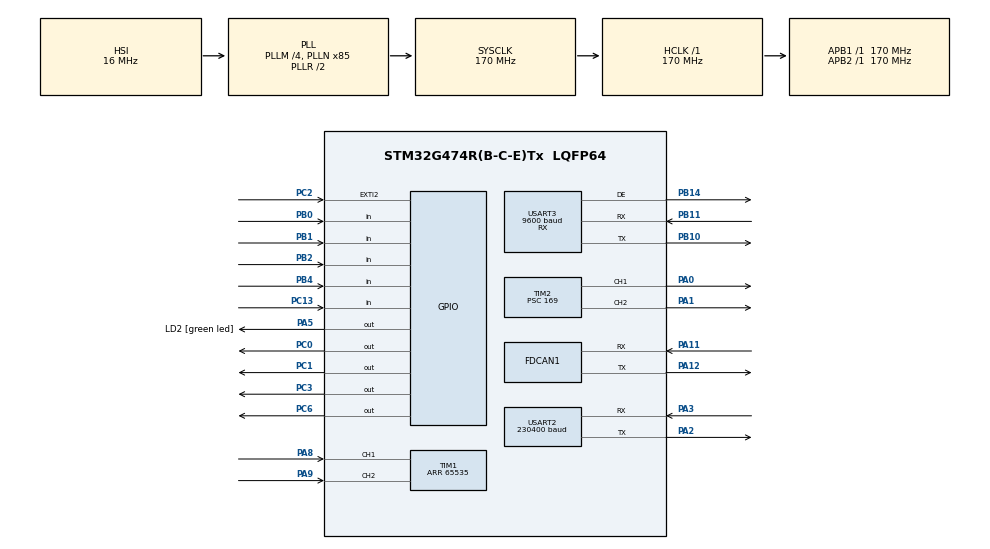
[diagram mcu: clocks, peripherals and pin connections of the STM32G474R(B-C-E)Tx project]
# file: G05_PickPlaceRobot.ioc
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ARM.CMSIS.5.7.0.CMSISJjCORE=true
ARM.CMSIS.5.7.0.CMSISJjDSP=Library
Dma.Request0=USART2_RX
Dma.Request1=USART2_TX
Dma.USART2_RX.0.Direction=DMA_PERIPH_TO_MEMORY
Dma.USART2_RX.0.EventEnable=DISABLE
Dma.USART2_RX.0.Instance=DMA1_Channel2
Dma.USART2_RX.0.MemDataAlignment=DMA_MDATAALIGN_BYTE
Dma.USART2_RX.0.MemInc=DMA_MINC_ENABLE
Dma.USART2_RX.0.Mode=DMA_NORMAL
Dma.USART2_RX.0.PeriphDataAlignment=DMA_PDATAALIGN_BYTE
Dma.USART2_RX.0.PeriphInc=DMA_PINC_DISABLE
Dma.USART2_RX.0.Polarity=HAL_DMAMUX_REQ_GEN_RISING
Dma.USART2_RX.0.Priority=DMA_PRIORITY_LOW
Dma.USART2_RX.0.RequestNumber=1
Dma.USART2_RX.0.SignalID=NONE
Dma.USART2_RX.0.SyncEnable=DISABLE
Dma.USART2_RX.0.SyncPolarity=HAL_DMAMUX_SYNC_NO_EVENT
Dma.USART2_RX.0.SyncRequestNumber=1
Dma.USART2_RX.0.SyncSignalID=NONE
Dma.USART2_TX.1.Direction=DMA_MEMORY_TO_PERIPH
Dma.USART2_TX.1.EventEnable=DISABLE
Dma.USART2_TX.1.Instance=DMA1_Channel3
Dma.USART2_TX.1.MemDataAlignment=DMA_MDATAALIGN_BYTE
Dma.USART2_TX.1.MemInc=DMA_MINC_ENABLE
Dma.USART2_TX.1.Mode=DMA_NORMAL
Dma.USART2_TX.1.PeriphDataAlignment=DMA_PDATAALIGN_BYTE
Dma.USART2_TX.1.PeriphInc=DMA_PINC_DISABLE
Dma.USART2_TX.1.Polarity=HAL_DMAMUX_REQ_GEN_RISING
Dma.USART2_TX.1.Priority=DMA_PRIORITY_LOW
Dma.USART2_TX.1.RequestNumber=1
Dma.USART2_TX.1.SignalID=NONE
Dma.USART2_TX.1.SyncEnable=DISABLE
Dma.USART2_TX.1.SyncPolarity=HAL_DMAMUX_SYNC_NO_EVENT
Dma.USART2_TX.1.SyncRequestNumber=1
Dma.USART2_TX.1.SyncSignalID=NONE
FDCAN1.CalculateBaudRateNominal=500000
FDCAN1.CalculateTimeBitNominal=2000
FDCAN1.CalculateTimeQuantumNominal=200.0
FDCAN1.DataTimeSeg1=1
FDCAN1.DataTimeSeg2=1
FDCAN1.NominalPrescaler=34
FDCAN1.NominalTimeSeg1=7
FDCAN1.NominalTimeSeg2=2
FDCAN1.StdFiltersNbr=2
Mcu.Family=STM32G4
Mcu.Name=STM32G474R(B-C-E)Tx
Mcu.Package=LQFP64
NVIC.DMA1_Channel2_IRQn=true\:0\:0\:false\:false\:true\:false\:true\:true
NVIC.DMA1_Channel3_IRQn=true\:0\:0\:false\:false\:true\:false\:true\:true
NVIC.EXTI2_IRQn=true\:0\:0\:false\:false\:true\:true\:true\:true
NVIC.PriorityGroup=NVIC_PRIORITYGROUP_4
NVIC.TIM1_UP_TIM16_IRQn=true\:0\:0\:false\:false\:true\:true\:true\:true
NVIC.TIM2_IRQn=true\:0\:0\:false\:false\:true\:true\:true\:true
NVIC.TIM3_IRQn=true\:0\:0\:false\:false\:true\:true\:true\:true
NVIC.USART2_IRQn=true\:0\:0\:false\:false\:true\:true\:true\:true
NVIC.USART3_IRQn=true\:0\:0\:false\:false\:true\:true\:true\:true
PA0.Signal=S_TIM2_CH1
PA1.Signal=S_TIM2_CH2
PA11.Mode=FDCAN_Activate
PA11.Signal=FDCAN1_RX
PA12.Mode=FDCAN_Activate
PA12.Signal=FDCAN1_TX
PA13.GPIO_Label=T_SWDIO
PA13.Signal=SYS_JTMS-SWDIO
PA14.GPIO_Label=T_SWCLK
PA14.Signal=SYS_JTCK-SWCLK
PA2.Mode=Asynchronous
PA2.Signal=USART2_TX
PA3.Mode=Asynchronous
PA3.Signal=USART2_RX
PA5.GPIO_Label=LD2 [green led]
PA5.Signal=GPIO_Output
PA8.Signal=S_TIM1_CH1
PA9.Signal=S_TIM1_CH2
PB0.GPIO_PuPd=GPIO_PULLDOWN
PB0.Signal=GPIO_Input
PB1.GPIO_PuPd=GPIO_PULLDOWN
PB1.Signal=GPIO_Input
PB10.Mode=Asynchronous
PB10.Signal=USART3_TX
PB11.Mode=Asynchronous
PB11.Signal=USART3_RX
PB14.Mode=Hardware Flow Control (RS485)
PB14.Signal=USART3_DE
PB2.GPIO_PuPd=GPIO_PULLDOWN
PB2.Signal=GPIO_Input
PB3.GPIO_Label=T_SWO
PB3.Signal=SYS_JTDO-SWO
PB4.GPIO_PuPd=GPIO_NOPULL
PB4.Signal=GPIO_Input
PC0.Signal=GPIO_Output
PC1.Signal=GPIO_Output
PC13.GPIO_PuPd=GPIO_NOPULL
PC13.Signal=GPIO_Input
PC14-OSC32_IN.GPIO_Label=RCC_OSC32_IN
PC14-OSC32_IN.Signal=RCC_OSC32_IN
PC15-OSC32_OUT.GPIO_Label=RCC_OSC32_OUT
PC15-OSC32_OUT.Signal=RCC_OSC32_OUT
PC2.GPIO_ModeDefaultEXTI=GPIO_MODE_IT_FALLING
PC2.GPIO_PuPd=GPIO_PULLUP
PC2.Signal=GPXTI2
PC3.Signal=GPIO_Output
PC6.Signal=GPIO_Output
PF0-OSC_IN.GPIO_Label=RCC_OSC_IN
PF0-OSC_IN.Signal=RCC_OSC_IN
PF1-OSC_OUT.GPIO_Label=RCC_OSC_OUT
PF1-OSC_OUT.Signal=RCC_OSC_OUT
ProjectManager.HeapSize=0x200
ProjectManager.StackSize=0x400
ProjectManager.TargetToolchain=STM32CubeIDE
RCC.ADC12Freq_Value=170000000
RCC.ADC345Freq_Value=170000000
RCC.AHBFreq_Value=170000000
RCC.APB1Freq_Value=170000000
RCC.APB1TimFreq_Value=170000000
RCC.APB2Freq_Value=170000000
RCC.APB2TimFreq_Value=170000000
RCC.CortexFreq_Value=170000000
RCC.EXTERNAL_CLOCK_VALUE=12288000
RCC.HCLKFreq_Value=170000000
RCC.HSE_VALUE=24000000
RCC.HSI48_VALUE=48000000
RCC.HSI_VALUE=16000000
RCC.LSE_VALUE=32768
RCC.PLLM=RCC_PLLM_DIV4
RCC.PLLN=85
RCC.RTCClockSelection=RCC_RTCCLKSOURCE_LSE
RCC.SYSCLKFreq_VALUE=170000000
RCC.SYSCLKSource=RCC_SYSCLKSOURCE_PLLCLK
RCC.USBFreq_Value=170000000
RCC.VCOOutputFreq_Value=340000000
SH.S_TIM1_CH1.0=TIM1_CH1,Encoder_Interface
SH.S_TIM1_CH2.0=TIM1_CH2,Encoder_Interface
SH.S_TIM2_CH1.0=TIM2_CH1,PWM Generation1 CH1
SH.S_TIM2_CH2.0=TIM2_CH2,PWM Generation2 CH2
TIM1.AutoReloadPreload=TIM_AUTORELOAD_PRELOAD_ENABLE
TIM1.EncoderMode=TIM_ENCODERMODE_TI12
TIM1.PeriodNoDither=65535
TIM16.PeriodNoDither=1145
TIM16.Prescaler=169
TIM2.AutoReloadPreload=TIM_AUTORELOAD_PRELOAD_ENABLE
TIM2.Channel-PWM\ Generation1\ CH1=TIM_CHANNEL_1
TIM2.Channel-PWM\ Generation2\ CH2=TIM_CHANNEL_2
TIM2.PeriodNoDither=499
TIM2.Prescaler=169
TIM3.AutoReloadPreload=TIM_AUTORELOAD_PRELOAD_ENABLE
TIM3.PeriodNoDither=499
TIM3.Prescaler=169
USART2.BaudRate=230400
USART2.Parity=PARITY_EVEN
USART2.VirtualMode-Asynchronous=VM_ASYNC
USART2.WordLength=WORDLENGTH_9B
USART3.BaudRate=9600
USART3.Mode=MODE_RX
USART3.VirtualMode-Asynchronous=VM_ASYNC
USART3.VirtualMode-Hardware\ Flow\ Control\ (RS485)=VM_ASYNC
VP_ARM.CMSIS_VS_CMSISJjCORE_5.4.0_5.7.0.Mode=CMSISJjCORE
VP_ARM.CMSIS_VS_CMSISJjDSP_1.8.0_5.7.0.Mode=CMSISJjDSP
VP_SYS_VS_DBSignals.Mode=DisableDeadBatterySignals
VP_TIM16_VS_ClockSourceINT.Mode=Enable_Timer
VP_TIM16_VS_OPM.Mode=OPM_bit
VP_TIM2_VS_ClockSourceINT.Mode=Internal
VP_TIM3_VS_ClockSourceINT.Mode=Internal
board=NUCLEO-G474RE

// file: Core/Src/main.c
/* USER CODE BEGIN Header */
/*
 * main.c
 *
 * Created on: May 2026
 * Author: Yhommy
 *
 * Application entry point — system state machine and main loop.
 * All hardware configuration is sourced from RobotConfig.h.
 *
 * System States:
 *   SYS_STATE_AUTO       — Modbus commands accepted (Mode pin HIGH)
 *   SYS_STATE_MANUAL     — Joystick commands accepted (Mode pin LOW)
 *   SYS_STATE_ESTOP      — Motor cut; re-inits on button release → RESET
 *   SYS_STATE_RESET      — One-shot re-init, then back to AUTO or MANUAL
 *   SYS_STATE_SOFT_ESTOP — Motor cut via REG_SOFT_STOP; hardware reset only
 *
 * Pin logic (active-low, inverted in firmware):
 *   Emergency_State = 1  →  E-Stop pressed   (PC13)
 *   Mode_State      = 1  →  Manual mode       (PB4)
 */
/* USER CODE END Header */
#include "main.h"
#include "dma.h"
#include "fdcan.h"
#include "tim.h"
#include "usart.h"
#include "gpio.h"

/* USER CODE BEGIN Includes */
#include <string.h>
#include "Robot.h"
#include "RobotConfig.h"
#include "BaseSystemInterface.h"
#include "JoystickInterface.h"
#include "TaskManager.h"
/* USER CODE END Includes */

/* USER CODE BEGIN PM */
/* Convert radians → degrees for Modbus write-back.
 * BaseSystemInterface_Update() multiplies by 10 before packing into the
 * register, so the PC receives (degrees × 10) and divides by 10 to display
 * the correct value — matching the BaseSystem protocol spec (0x28–0x30).    */
#define RAD_TO_DEG(r)   ((r) * 57.295779513f)
/* USER CODE END PM */

/* USER CODE BEGIN PV */
Robot_t               robot;
JoystickInterface_t   joystick;
BaseSystemInterface_t BaseSystem;
TaskManager_t         taskMgr;

uint8_t Emergency_State = 0;   /* 0 = normal, 1 = emergency active  */
uint8_t Mode_State      = 0;   /* 0 = Auto,   1 = Manual            */

/* ── Debug: Live Expression in STM32CubeIDE — watch these to diagnose ─────── */
uint8_t dbg_gripper_mode   = 0;   /* actual GripperMode_t of robot.gripper   */
uint8_t dbg_up_port_valid  = 0;   /* 1 = up_port_in pointer is non-NULL      */
uint8_t dbg_pin_up_raw     = 0;   /* raw HAL_GPIO_ReadPin result for Up pin  */
uint8_t dbg_pin_down_raw   = 0;   /* raw HAL_GPIO_ReadPin result for Down    */
uint8_t dbg_pin_claw_raw   = 0;   /* raw HAL_GPIO_ReadPin result for Claw    */
uint16_t dbg_sensor_bits   = 0;   /* final sensorBits value sent to Modbus   */

/* ── System state machine ────────────────────────────────────────────────── */
typedef enum {
    SYS_STATE_AUTO,          /* Normal operation — Modbus commands accepted        */
    SYS_STATE_MANUAL,        /* Manual operation — Joystick commands accepted       */
    SYS_STATE_ESTOP,         /* Emergency stop   — motor cut, heartbeat only        */
    SYS_STATE_RESET,         /* One-shot reset   — re-init all, then go to AUTO/MANUAL */
    SYS_STATE_SOFT_ESTOP,    /* Software stop    — motor cut via Modbus REG_SOFT_STOP  *
                              * NO exit path — hardware reset (power cycle) required  */
} SysState_t;

static SysState_t sysState = SYS_STATE_AUTO;

/* USER CODE END PV */

void SystemClock_Config(void);

int main(void)
{

  /* MCU Configuration--------------------------------------------------------*/

  /* Reset of all peripherals, Initializes the Flash interface and the Systick. */
  HAL_Init();

  /* Configure the system clock */
  SystemClock_Config();

  /* Initialize all configured peripherals */
  MX_GPIO_Init();
  MX_DMA_Init();
  MX_TIM1_Init();
  MX_TIM2_Init();
  MX_TIM3_Init();
  MX_USART2_UART_Init();
  MX_TIM16_Init();
  MX_USART3_UART_Init();
  MX_FDCAN1_Init();
  /* USER CODE BEGIN 2 */
    BaseSystemInterface_Init(&BaseSystem, &huart2, &htim16, 21);
    Robot_Init(&robot);
    Task_Init(&taskMgr);

    HAL_TIM_Base_Start_IT(&htim3);
    JoystickInterface_Init(&joystick, &huart3, GPIOB, GPIO_PIN_14);

    sysState = SYS_STATE_MANUAL;   /* Mode_State=0 at startup → MANUAL */
  /* USER CODE END 2 */

  /* Infinite loop */
  while (1)
  {

    /* USER CODE BEGIN 3 */

        /* ── Read physical pins ────────────────────────────────────────────── *
         * Active-low: pressed/selected = GPIO_PIN_RESET → invert to 1.        */
        Emergency_State = (HAL_GPIO_ReadPin(ESTOP_PORT,   ESTOP_PIN)   == GPIO_PIN_RESET) ? 1u : 0u;
        Mode_State      = (HAL_GPIO_ReadPin(MODE_SW_PORT, MODE_SW_PIN) == GPIO_PIN_RESET) ? 1u : 0u;

        /* ── Global E-Stop override — highest priority ─────────────────────── *
         * Transition to ESTOP from any state the moment button is pressed.     */
        if (Emergency_State == 1 && sysState != SYS_STATE_ESTOP)
            sysState = SYS_STATE_ESTOP;

        /* ── State machine ─────────────────────────────────────────────────── */
        switch (sysState)
        {
            /* ─────────────────────────────────────────────────────────────── *
             * AUTO — full BaseSystem: Modbus commands + heartbeat + data      *
             * Mode_State = 1                                                  *
             * ─────────────────────────────────────────────────────────────── */
            case SYS_STATE_AUTO:
                /* ── Debug: trace sensor pin state directly ─────────────── */
                dbg_gripper_mode  = (uint8_t)robot.gripper.mode;
                dbg_up_port_valid = (robot.gripper.up_port_in != NULL) ? 1u : 0u;
                dbg_pin_up_raw    = (uint8_t)HAL_GPIO_ReadPin(GRP_UP_PORT_IN,   GRP_UP_PIN_IN);
                dbg_pin_down_raw  = (uint8_t)HAL_GPIO_ReadPin(GRP_DOWN_PORT_IN, GRP_DOWN_PIN_IN);
                dbg_pin_claw_raw  = (uint8_t)HAL_GPIO_ReadPin(GRP_CLAW_PORT_IN, GRP_CLAW_PIN_IN);

                /* ── Write-back: push robot state into Modbus registers ──── *
                 * FIX: convert rad → deg before assigning.                   *
                 * BaseSystemInterface_Update() multiplies by 10 before        *
                 * packing into the register frame, so the PC receives         *
                 * (degrees × 10) and divides by 10 to get the display value. */
                BaseSystem.data.realPosition     = RAD_TO_DEG(Robot_GetPosition    (&robot));
                BaseSystem.data.realVelocity     = Robot_GetVelocity    (&robot);
                BaseSystem.data.realAcceleration = Robot_GetAcceleration(&robot);
                /* REG_ROBOT_TASK (0x27) bit mapping (BaseSystem protocol doc 4.3):
                 *   0x0001 — Homing
                 *   0x0002 — Go Pick  (even sequence step)
                 *   0x0004 — Go Place (odd  sequence step)
                 *   0x0008 — Go Point (P2P move, jog, prec/perf test)
                 *   0x0000 — Idle
                 * Use TaskManager state — NOT Robot_GetState() — so the correct
                 * task is reported throughout a sequence step (including while the
                 * robot is briefly ROBOT_IDLE between steps).                     */
                {
                    Robot_State_t rs = Robot_GetState(&robot);
                    uint16_t tbits;
                    if (rs == ROBOT_HOMING_FAST_STATE   ||
                        rs == ROBOT_HOMING_BACKOFF_STATE ||
                        rs == ROBOT_HOMING_SLOW_STATE    ||
                        rs == ROBOT_HOMING_OFFSET_STATE)
                        tbits = 0x0001u;                         /* Homing        */
                    else if (taskMgr.seqRunning && taskMgr.seqStep % 2 == 0)
                        tbits = 0x0002u;                         /* Go Pick       */
                    else if (taskMgr.seqRunning && taskMgr.seqStep % 2 == 1)
                        tbits = 0x0004u;                         /* Go Place      */
                    else if (rs == ROBOT_MOVE    ||
                             rs == ROBOT_JOG_VEL ||
                             rs == ROBOT_JOG_STEP ||
                             taskMgr.precRunning  ||
                             taskMgr.perfRunning)
                        tbits = 0x0008u;                         /* Go Point      */
                    else
                        tbits = 0x0000u;                         /* Idle          */
                    BaseSystem.data.currentTaskBits = tbits;
                }
                BaseSystem.data.sensorBits       =
                    ((uint16_t)Robot_Gripper_GetUpState  (&robot) << 0u) |
                    ((uint16_t)Robot_Gripper_GetDownState(&robot) << 1u) |
                    ((uint16_t)Robot_Gripper_GetClawState(&robot) << 2u);
                dbg_sensor_bits = BaseSystem.data.sensorBits;
                BaseSystem.data.emergencyActive = 0u;

                BaseSystemInterface_Update(&BaseSystem);
                BaseSystem_Interface_Decode(&BaseSystem);
                JoystickInterface_Update(&joystick);   /* parse but don't post */

                Robot_CANBus_Update(&robot);           /* CAN RX + heartbeat TX */
                Task_PostFromModbus(&taskMgr, &BaseSystem);
                /* Joystick intentionally NOT posted in AUTO mode */

                Task_Run(&taskMgr, &robot);

                /* Software hard-stop: motor already cut by Robot_EStop() in
                 * TaskManager. Enter SOFT_ESTOP — no exit without hardware reset. */
                if (taskMgr.sysHardStopRequested)
                {
                    sysState = SYS_STATE_SOFT_ESTOP;
                    break;
                }

                /* (sysResetRequested unused — kept in case legacy path needed) */
                if (taskMgr.sysResetRequested)
                {
                    taskMgr.sysResetRequested = 0;
                    sysState = SYS_STATE_RESET;
                    break;
                }

                /* Transition to MANUAL when Mode_State = 0 */
                if (Mode_State == 0)
                    sysState = SYS_STATE_MANUAL;
                break;

            /* ─────────────────────────────────────────────────────────────── *
             * MANUAL — joystick commands only, heartbeat + data to PC        *
             * Mode_State = 0                                                  *
             * ─────────────────────────────────────────────────────────────── */
            case SYS_STATE_MANUAL:
                /* ── Write-back: push robot state into Modbus registers ──── *
                 * FIX: convert rad → deg before assigning.                   */
                BaseSystem.data.realPosition     = RAD_TO_DEG(Robot_GetPosition    (&robot));
                BaseSystem.data.realVelocity     = Robot_GetVelocity    (&robot);
                BaseSystem.data.realAcceleration = Robot_GetAcceleration(&robot);
                /* REG_ROBOT_TASK (0x27) bit mapping (BaseSystem protocol doc 4.3):
                 *   0x0001 — Homing
                 *   0x0002 — Go Pick  (even sequence step)
                 *   0x0004 — Go Place (odd  sequence step)
                 *   0x0008 — Go Point (P2P move, jog, prec/perf test)
                 *   0x0000 — Idle
                 * Use TaskManager state — NOT Robot_GetState() — so the correct
                 * task is reported throughout a sequence step (including while the
                 * robot is briefly ROBOT_IDLE between steps).                     */
                {
                    Robot_State_t rs = Robot_GetState(&robot);
                    uint16_t tbits;
                    if (rs == ROBOT_HOMING_FAST_STATE   ||
                        rs == ROBOT_HOMING_BACKOFF_STATE ||
                        rs == ROBOT_HOMING_SLOW_STATE    ||
                        rs == ROBOT_HOMING_OFFSET_STATE)
                        tbits = 0x0001u;                         /* Homing        */
                    else if (taskMgr.seqRunning && taskMgr.seqStep % 2 == 0)
                        tbits = 0x0002u;                         /* Go Pick       */
                    else if (taskMgr.seqRunning && taskMgr.seqStep % 2 == 1)
                        tbits = 0x0004u;                         /* Go Place      */
                    else if (rs == ROBOT_MOVE    ||
                             rs == ROBOT_JOG_VEL ||
                             rs == ROBOT_JOG_STEP ||
                             taskMgr.precRunning  ||
                             taskMgr.perfRunning)
                        tbits = 0x0008u;                         /* Go Point      */
                    else
                        tbits = 0x0000u;                         /* Idle          */
                    BaseSystem.data.currentTaskBits = tbits;
                }
                BaseSystem.data.sensorBits       =
                    ((uint16_t)Robot_Gripper_GetUpState  (&robot) << 0u) |
                    ((uint16_t)Robot_Gripper_GetDownState(&robot) << 1u) |
                    ((uint16_t)Robot_Gripper_GetClawState(&robot) << 2u);
                BaseSystem.data.emergencyActive = 0u;

                BaseSystemInterface_Update(&BaseSystem);
                BaseSystem_Interface_Decode(&BaseSystem); /* decode but don't post */
                JoystickInterface_Update(&joystick);

                Robot_CANBus_Update(&robot);           /* CAN RX + heartbeat TX */
                /* Modbus commands intentionally NOT posted in MANUAL mode */
                Task_PostFromJoystick(&taskMgr, &joystick);

                Task_Run(&taskMgr, &robot);

                /* Software hard-stop: motor already cut by Robot_EStop() in
                 * TaskManager. Enter SOFT_ESTOP — no exit without hardware reset. */
                if (taskMgr.sysHardStopRequested)
                {
                    sysState = SYS_STATE_SOFT_ESTOP;
                    break;
                }

                /* (sysResetRequested unused — kept in case legacy path needed) */
                if (taskMgr.sysResetRequested)
                {
                    taskMgr.sysResetRequested = 0;
                    sysState = SYS_STATE_RESET;
                    break;
                }

                /* Transition to AUTO when Mode_State = 1 */
                if (Mode_State == 1)
                    sysState = SYS_STATE_AUTO;
                break;

            /* ─────────────────────────────────────────────────────────────── *
             * ESTOP — motor cut immediately every iteration                  *
             * heartbeat + data kept alive so PC knows we're alive            *
             * no motion commands accepted from any source                     *
             * ─────────────────────────────────────────────────────────────── */
            case SYS_STATE_ESTOP:
                Robot_EStop(&robot);                   /* cut motor every tick */

                /* ── Write-back: report emergency state to PC ────────────── *
                 * FIX: convert rad → deg for position.                        *
                 * Velocity is forced 0 (motor cut); acceleration stays 0.    */
                BaseSystem.data.realPosition     = RAD_TO_DEG(Robot_GetPosition(&robot));
                BaseSystem.data.realVelocity     = 0.0f;
                BaseSystem.data.realAcceleration = 0.0f;
                /* REG_ROBOT_TASK (0x27) bit mapping (BaseSystem protocol doc 4.3):
                 *   0x0001 — Homing
                 *   0x0002 — Go Pick  (even sequence step)
                 *   0x0004 — Go Place (odd  sequence step)
                 *   0x0008 — Go Point (P2P move, jog, prec/perf test)
                 *   0x0000 — Idle
                 * Use TaskManager state — NOT Robot_GetState() — so the correct
                 * task is reported throughout a sequence step (including while the
                 * robot is briefly ROBOT_IDLE between steps).                     */
                {
                    Robot_State_t rs = Robot_GetState(&robot);
                    uint16_t tbits;
                    if (rs == ROBOT_HOMING_FAST_STATE   ||
                        rs == ROBOT_HOMING_BACKOFF_STATE ||
                        rs == ROBOT_HOMING_SLOW_STATE    ||
                        rs == ROBOT_HOMING_OFFSET_STATE)
                        tbits = 0x0001u;                         /* Homing        */
                    else if (taskMgr.seqRunning && taskMgr.seqStep % 2 == 0)
                        tbits = 0x0002u;                         /* Go Pick       */
                    else if (taskMgr.seqRunning && taskMgr.seqStep % 2 == 1)
                        tbits = 0x0004u;                         /* Go Place      */
                    else if (rs == ROBOT_MOVE    ||
                             rs == ROBOT_JOG_VEL ||
                             rs == ROBOT_JOG_STEP ||
                             taskMgr.precRunning  ||
                             taskMgr.perfRunning)
                        tbits = 0x0008u;                         /* Go Point      */
                    else
                        tbits = 0x0000u;                         /* Idle          */
                    BaseSystem.data.currentTaskBits = tbits;
                }
                BaseSystem.data.sensorBits       = 0u;
                BaseSystem.data.emergencyActive  = 1u;

                BaseSystemInterface_Update(&BaseSystem); /* heartbeat + data   */

                /* On button release: full system re-init (encoder, Kalman,
                 * home position all cleared) then go to RESET for queue/BSI  */
                if (Emergency_State == 0)
                {
                    Robot_Init(&robot);
                    HAL_TIM_Base_Start_IT(&htim3);
                    sysState = SYS_STATE_RESET;
                }
                break;

            /* ─────────────────────────────────────────────────────────────── *
             * RESET — restore robot to default idle state.                   *
             * ─────────────────────────────────────────────────────────────── */
            case SYS_STATE_RESET:
                /* 1. Halt physical motor outputs and clamp soft movement profiles */
                Robot_SoftReset(&robot);

                /* 2. Wipe the high-level task queues, automation sequences, and tests */
                Task_Init(&taskMgr);

                /* 3. Clear the decoded incoming Modbus data structures entirely.
                 * This purges any stale command from the network buffer,
                 * ensuring the sequence doesn't immediately re-execute. */
                memset(&BaseSystem.pending, 0, sizeof(BSI_PendingCmd_t));

                /* 4. Safely fall back into the active operating mode */
                sysState = (Mode_State == 1) ? SYS_STATE_AUTO : SYS_STATE_MANUAL;
                break;

            /* ─────────────────────────────────────────────────────────────── *
             * SOFT_ESTOP — triggered by Modbus REG_SOFT_STOP command.        *
             *                                                                  *
             * Motor is ALREADY cut (Robot_EStop called in TaskManager).       *
             * This state holds indefinitely — heartbeat + data kept alive so  *
             * the PC knows the robot is locked.                                *
             *                                                                  *
             * EXIT: Hardware reset (power cycle / reset button) ONLY.         *
             *       There is intentionally no software path out of this state. *
             * ─────────────────────────────────────────────────────────────── */
            case SYS_STATE_SOFT_ESTOP:
                Robot_EStop(&robot);                   /* enforce cut every tick */

                /* ── Write-back: report emergency state to PC ────────────── *
                 * FIX: convert rad → deg for position.                        *
                 * Velocity/acceleration forced 0 (motor cut).                */
                BaseSystem.data.realPosition     = RAD_TO_DEG(Robot_GetPosition(&robot));
                BaseSystem.data.realVelocity     = 0.0f;
                BaseSystem.data.realAcceleration = 0.0f;
                /* REG_ROBOT_TASK (0x27) bit mapping (BaseSystem protocol doc 4.3):
                 *   0x0001 — Homing
                 *   0x0002 — Go Pick  (even sequence step)
                 *   0x0004 — Go Place (odd  sequence step)
                 *   0x0008 — Go Point (P2P move, jog, prec/perf test)
                 *   0x0000 — Idle
                 * Use TaskManager state — NOT Robot_GetState() — so the correct
                 * task is reported throughout a sequence step (including while the
                 * robot is briefly ROBOT_IDLE between steps).                     */
                {
                    Robot_State_t rs = Robot_GetState(&robot);
                    uint16_t tbits;
                    if (rs == ROBOT_HOMING_FAST_STATE   ||
                        rs == ROBOT_HOMING_BACKOFF_STATE ||
                        rs == ROBOT_HOMING_SLOW_STATE    ||
                        rs == ROBOT_HOMING_OFFSET_STATE)
                        tbits = 0x0001u;                         /* Homing        */
                    else if (taskMgr.seqRunning && taskMgr.seqStep % 2 == 0)
                        tbits = 0x0002u;                         /* Go Pick       */
                    else if (taskMgr.seqRunning && taskMgr.seqStep % 2 == 1)
                        tbits = 0x0004u;                         /* Go Place      */
                    else if (rs == ROBOT_MOVE    ||
                             rs == ROBOT_JOG_VEL ||
                             rs == ROBOT_JOG_STEP ||
                             taskMgr.precRunning  ||
                             taskMgr.perfRunning)
                        tbits = 0x0008u;                         /* Go Point      */
                    else
                        tbits = 0x0000u;                         /* Idle          */
                    BaseSystem.data.currentTaskBits = tbits;
                }
                BaseSystem.data.sensorBits       = 0u;
                BaseSystem.data.emergencyActive  = 1u;

                BaseSystemInterface_Update(&BaseSystem); /* heartbeat + data     */
                /* No exit condition — hardware reset required */
                break;
        }

  /* USER CODE END 3 */
  } /* while (1) */
}

void SystemClock_Config(void)
{
  RCC_OscInitTypeDef RCC_OscInitStruct = {0};
  RCC_ClkInitTypeDef RCC_ClkInitStruct = {0};

  /** Configure the main internal regulator output voltage
  */
  HAL_PWREx_ControlVoltageScaling(PWR_REGULATOR_VOLTAGE_SCALE1_BOOST);

  /** Initializes the RCC Oscillators according to the specified parameters
  * in the RCC_OscInitTypeDef structure.
  */
  RCC_OscInitStruct.OscillatorType = RCC_OSCILLATORTYPE_HSI;
  RCC_OscInitStruct.HSIState = RCC_HSI_ON;
  RCC_OscInitStruct.HSICalibrationValue = RCC_HSICALIBRATION_DEFAULT;
  RCC_OscInitStruct.PLL.PLLState = RCC_PLL_ON;
  RCC_OscInitStruct.PLL.PLLSource = RCC_PLLSOURCE_HSI;
  RCC_OscInitStruct.PLL.PLLM = RCC_PLLM_DIV4;
  RCC_OscInitStruct.PLL.PLLN = 85;
  RCC_OscInitStruct.PLL.PLLP = RCC_PLLP_DIV2;
  RCC_OscInitStruct.PLL.PLLQ = RCC_PLLQ_DIV2;
  RCC_OscInitStruct.PLL.PLLR = RCC_PLLR_DIV2;
  if (HAL_RCC_OscConfig(&RCC_OscInitStruct) != HAL_OK)
  {
    Error_Handler();
  }

  /** Initializes the CPU, AHB and APB buses clocks
  */
  RCC_ClkInitStruct.ClockType = RCC_CLOCKTYPE_HCLK|RCC_CLOCKTYPE_SYSCLK
                              |RCC_CLOCKTYPE_PCLK1|RCC_CLOCKTYPE_PCLK2;
  RCC_ClkInitStruct.SYSCLKSource = RCC_SYSCLKSOURCE_PLLCLK;
  RCC_ClkInitStruct.AHBCLKDivider = RCC_SYSCLK_DIV1;
  RCC_ClkInitStruct.APB1CLKDivider = RCC_HCLK_DIV1;
  RCC_ClkInitStruct.APB2CLKDivider = RCC_HCLK_DIV1;

  if (HAL_RCC_ClockConfig(&RCC_ClkInitStruct, FLASH_LATENCY_4) != HAL_OK)
  {
    Error_Handler();
  }
}

/* USER CODE BEGIN 4 */
void HAL_TIM_PeriodElapsedCallback(TIM_HandleTypeDef *htim)
{
    if (htim == &htim3)
        Robot_Update(&robot, htim);
}

void HAL_GPIO_EXTI_Callback(uint16_t GPIO_Pin)
{
    Robot_EXTI_Callback(&robot, GPIO_Pin);
}

void HAL_UART_RxCpltCallback(UART_HandleTypeDef *huart)
{
    JoystickInterface_RxCpltCallback(&joystick, huart);
}
/* USER CODE END 4 */

void Error_Handler(void)
{
  __disable_irq();
  while (1)
  {
  }
}
